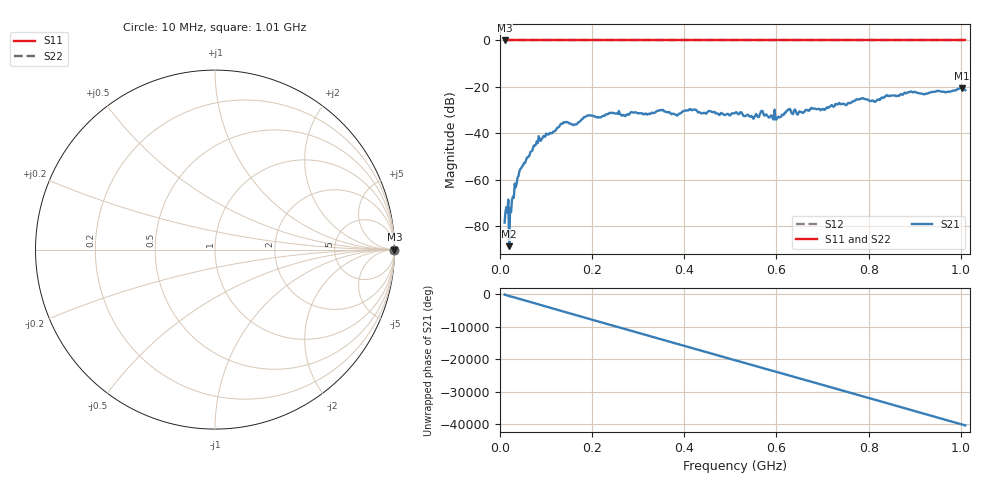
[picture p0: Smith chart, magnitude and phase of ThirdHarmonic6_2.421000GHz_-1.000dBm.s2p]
! 8/17/2025 4:07:51 AM
! C:\ANRITSUVNA\TEMP\TEMP.S2P
! CHANNEL.1
! TR.MEASUREMENT
! RAW.DATA
! RF.CORRECTION.OFF
! AVERAGING.OFF
! IF.BANDWIDTH: 5KHZ
! SWEEPTYPE:  FREQ.SWEEP(Linear)
! Reference Plane Port Info
! PORT:  PORT1  PORT2
! DISTANCE:  0  m  0  m
! TIME:  0  s  0  s
! PHASE.OFFSET:  0  deg.  0  deg.
! LOSS:  0  dB  0  dB
! REF.LOSS:  0  dB  0  dB
! REF.FREQ:  0  Hz  0  Hz
! Power Info
! POWER:  -20  dBm  -20  dBm
! EFF.POWER:  -20  dBm  -20  dBm
! SOURCE.ATTEN:  0  dB  0  dB
! TEST.ATTEN:  0  dB  0  dB
# GHZ S RI R 50.0
! FREQ.GHZ  S11RE  S11IM  S21RE  S21IM  S12RE  S12IM  S22RE  S22IM
!; PortSelection: Port_12
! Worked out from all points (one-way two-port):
!   501 points, 10 MHz to 1.01 GHz, reference 50 ohm
!   highest |S21| = -20.63 dB at 1.002 GHz (marker M1); lowest = -88.6 dB at 20 MHz (marker M2)
!   lowest |S11| = 0.0 dB at 10 MHz (marker M3)
!   |S11| at or under -10 dB: nowhere
!   |S22| runs from 0.0 to 0.0 dB; largest |S21 - S12| = 1.1
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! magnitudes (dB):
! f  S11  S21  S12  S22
! 10 MHz  0.0  -78.4  0.0  0.0
! 14 MHz  0.0  -71.8  0.0  0.0
! 20 MHz  0.0  -88.6  0.0  0.0
! 24 MHz  0.0  -74.0  0.0  0.0
! 42 MHz  0.0  -56.5  0.0  0.0
! 82 MHz  0.0  -44.3  0.0  0.0
! 136 MHz  0.0  -35.8  0.0  0.0
! 162 MHz  0.0  -36.2  0.0  0.0
! 178 MHz  0.0  -33.9  0.0  0.0
! 344 MHz  0.0  -30.3  0.0  0.0
! 382 MHz  0.0  -32.0  0.0  0.0
! 416 MHz  0.0  -30.1  0.0  0.0
! 510 MHz  0.0  -31.3  0.0  0.0
! 548 MHz  0.0  -33.0  0.0  0.0
! 568 MHz  0.0  -30.3  0.0  0.0
! 602 MHz  0.0  -33.2  0.0  0.0
! 626 MHz  0.0  -29.7  0.0  0.0
! 648 MHz  0.0  -31.3  0.0  0.0
! 678 MHz  0.0  -29.4  0.0  0.0
! 844 MHz  0.0  -24.0  0.0  0.0
! 1.002 GHz  0.0  -20.6  0.0  0.0
! 1.01 GHz  0.0  -21.4  0.0  0.0
